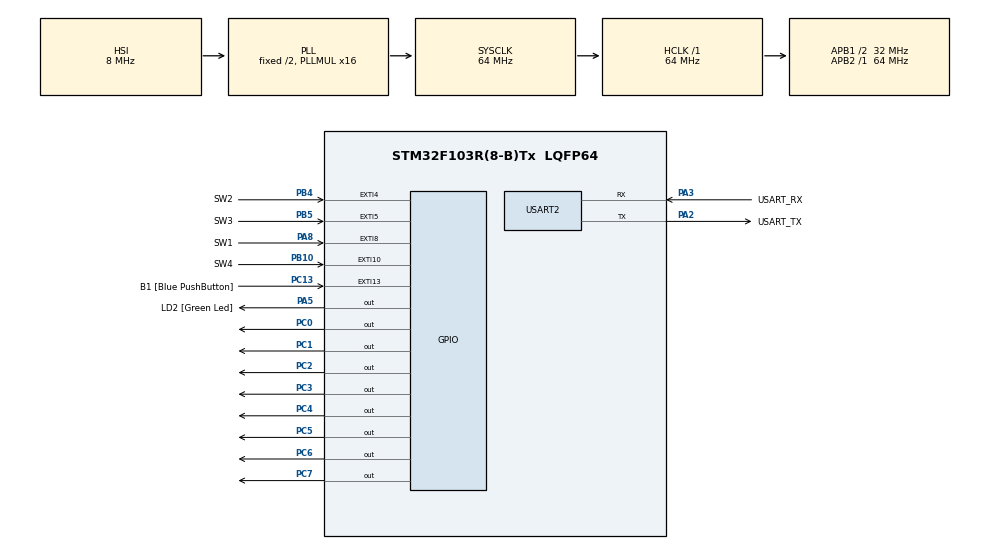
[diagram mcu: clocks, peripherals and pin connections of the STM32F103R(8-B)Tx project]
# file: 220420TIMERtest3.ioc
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Mcu.Family=STM32F1
Mcu.Name=STM32F103R(8-B)Tx
Mcu.Package=LQFP64
NVIC.EXTI15_10_IRQn=true\:0\:0\:false\:false\:true\:true\:true\:true
NVIC.EXTI4_IRQn=true\:0\:0\:false\:false\:true\:true\:true\:true
NVIC.EXTI9_5_IRQn=true\:0\:0\:false\:false\:true\:true\:true\:true
NVIC.PriorityGroup=NVIC_PRIORITYGROUP_4
NVIC.TIM2_IRQn=true\:0\:0\:false\:false\:true\:true\:true\:true
PA13.GPIO_Label=TMS
PA13.Mode=Serial_Wire
PA13.Signal=SYS_JTMS-SWDIO
PA14.GPIO_Label=TCK
PA14.Mode=Serial_Wire
PA14.Signal=SYS_JTCK-SWCLK
PA2.GPIO_Label=USART_TX
PA2.GPIO_Mode=GPIO_MODE_AF_PP
PA2.GPIO_PuPd=GPIO_NOPULL
PA2.GPIO_Speed=GPIO_SPEED_FREQ_LOW
PA2.Mode=Asynchronous
PA2.Signal=USART2_TX
PA3.GPIO_Label=USART_RX
PA3.GPIO_Mode=GPIO_MODE_AF_PP
PA3.GPIO_PuPd=GPIO_NOPULL
PA3.GPIO_Speed=GPIO_SPEED_FREQ_LOW
PA3.Mode=Asynchronous
PA3.Signal=USART2_RX
PA5.GPIO_Label=LD2 [Green Led]
PA5.GPIO_ModeDefaultOutputPP=GPIO_MODE_OUTPUT_PP
PA5.GPIO_PuPd=GPIO_NOPULL
PA5.GPIO_Speed=GPIO_SPEED_FREQ_LOW
PA5.Signal=GPIO_Output
PA8.GPIO_Label=SW1
PA8.GPIO_ModeDefaultEXTI=GPIO_MODE_IT_FALLING
PA8.Signal=GPXTI8
PB10.GPIO_Label=SW4
PB10.GPIO_ModeDefaultEXTI=GPIO_MODE_IT_FALLING
PB10.Signal=GPXTI10
PB3.GPIO_Label=SWO
PB3.Signal=SYS_JTDO-TRACESWO
PB4.GPIO_Label=SW2
PB4.GPIO_ModeDefaultEXTI=GPIO_MODE_IT_FALLING
PB4.Signal=GPXTI4
PB5.GPIO_Label=SW3
PB5.GPIO_ModeDefaultEXTI=GPIO_MODE_IT_FALLING
PB5.Signal=GPXTI5
PC0.Signal=GPIO_Output
PC1.Signal=GPIO_Output
PC13-TAMPER-RTC.GPIO_Label=B1 [Blue PushButton]
PC13-TAMPER-RTC.GPIO_PuPd=GPIO_NOPULL
PC13-TAMPER-RTC.Signal=GPXTI13
PC14-OSC32_IN.Mode=LSE-External-Oscillator
PC14-OSC32_IN.Signal=RCC_OSC32_IN
PC15-OSC32_OUT.Mode=LSE-External-Oscillator
PC15-OSC32_OUT.Signal=RCC_OSC32_OUT
PC2.Signal=GPIO_Output
PC3.Signal=GPIO_Output
PC4.Signal=GPIO_Output
PC5.Signal=GPIO_Output
PC6.Signal=GPIO_Output
PC7.Signal=GPIO_Output
PD0-OSC_IN.Mode=HSE-External-Clock-Source
PD0-OSC_IN.Signal=RCC_OSC_IN
PD1-OSC_OUT.Mode=HSE-External-Clock-Source
PD1-OSC_OUT.Signal=RCC_OSC_OUT
ProjectManager.HeapSize=0x200
ProjectManager.StackSize=0x400
ProjectManager.TargetToolchain=STM32CubeIDE
RCC.AHBFreq_Value=64000000
RCC.APB1CLKDivider=RCC_HCLK_DIV2
RCC.APB1Freq_Value=32000000
RCC.APB1TimFreq_Value=64000000
RCC.APB2Freq_Value=64000000
RCC.APB2TimFreq_Value=64000000
RCC.HCLKFreq_Value=64000000
RCC.PLLMUL=RCC_PLL_MUL16
RCC.RTCClockSelection=RCC_RTCCLKSOURCE_LSE
RCC.SYSCLKFreq_VALUE=64000000
RCC.SYSCLKSource=RCC_SYSCLKSOURCE_PLLCLK
RCC.USBFreq_Value=64000000
TIM2.Channel-Output\ Compare1\ No\ Output=TIM_CHANNEL_1
TIM2.Period=10000-1
TIM2.Prescaler=6400-1
TIM2.Pulse-Output\ Compare1\ No\ Output=1000-1
USART2.VirtualMode=VM_ASYNC
VP_TIM2_VS_ClockSourceINT.Mode=Internal
VP_TIM2_VS_no_output1.Mode=Output Compare1 No Output
board=NUCLEO-F103RB

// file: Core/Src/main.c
/* USER CODE BEGIN Header */
/**
  ******************************************************************************
  * @file           : main.c
  * @brief          : Main program body
  ******************************************************************************
  * @attention
  *
  * Copyright (c) 2022 STMicroelectronics.
  * All rights reserved.
  *
  * This software is licensed under terms that can be found in the LICENSE file
  * in the root directory of this software component.
  * If no LICENSE file comes with this software, it is provided AS-IS.
  *
  ******************************************************************************
  */
/* USER CODE END Header */
#include "main.h"

 TIM_HandleTypeDef htim2;

UART_HandleTypeDef huart2;

/* USER CODE BEGIN PV */
TIM_ClockConfigTypeDef sClockSourceConfig = {0};
TIM_MasterConfigTypeDef sMasterConfig = {0};
TIM_OC_InitTypeDef sConfigOC = {0};
/* USER CODE END PV */

void SystemClock_Config(void);
static void MX_GPIO_Init(void);
static void MX_USART2_UART_Init(void);
static void MX_TIM2_Init(void);

int main(void)
{

  /* MCU Configuration--------------------------------------------------------*/

  /* Reset of all peripherals, Initializes the Flash interface and the Systick. */
  HAL_Init();

  /* Configure the system clock */
  SystemClock_Config();

  /* Initialize all configured peripherals */
  MX_GPIO_Init();
  MX_USART2_UART_Init();
  MX_TIM2_Init();
  /* USER CODE BEGIN 2 */
  if(HAL_TIM_Base_Start_IT(&htim2) != HAL_OK){
	  Error_Handler();
  }

  if(HAL_TIM_OC_Start_IT(&htim2, TIM_CHANNEL_1) != HAL_OK){
	  Error_Handler();
  }
  /* USER CODE END 2 */

  /* Infinite loop */
  while (1)
  {

  }
}

void SystemClock_Config(void)
{
  RCC_OscInitTypeDef RCC_OscInitStruct = {0};
  RCC_ClkInitTypeDef RCC_ClkInitStruct = {0};

  /** Initializes the RCC Oscillators according to the specified parameters
  * in the RCC_OscInitTypeDef structure.
  */
  RCC_OscInitStruct.OscillatorType = RCC_OSCILLATORTYPE_HSI;
  RCC_OscInitStruct.HSIState = RCC_HSI_ON;
  RCC_OscInitStruct.HSICalibrationValue = RCC_HSICALIBRATION_DEFAULT;
  RCC_OscInitStruct.PLL.PLLState = RCC_PLL_ON;
  RCC_OscInitStruct.PLL.PLLSource = RCC_PLLSOURCE_HSI_DIV2;
  RCC_OscInitStruct.PLL.PLLMUL = RCC_PLL_MUL16;
  if (HAL_RCC_OscConfig(&RCC_OscInitStruct) != HAL_OK)
  {
    Error_Handler();
  }

  /** Initializes the CPU, AHB and APB buses clocks
  */
  RCC_ClkInitStruct.ClockType = RCC_CLOCKTYPE_HCLK|RCC_CLOCKTYPE_SYSCLK
                              |RCC_CLOCKTYPE_PCLK1|RCC_CLOCKTYPE_PCLK2;
  RCC_ClkInitStruct.SYSCLKSource = RCC_SYSCLKSOURCE_PLLCLK;
  RCC_ClkInitStruct.AHBCLKDivider = RCC_SYSCLK_DIV1;
  RCC_ClkInitStruct.APB1CLKDivider = RCC_HCLK_DIV2;
  RCC_ClkInitStruct.APB2CLKDivider = RCC_HCLK_DIV1;

  if (HAL_RCC_ClockConfig(&RCC_ClkInitStruct, FLASH_LATENCY_2) != HAL_OK)
  {
    Error_Handler();
  }
}

static void MX_TIM2_Init(void)
{

  htim2.Instance = TIM2;
  htim2.Init.Prescaler = 6400-1;
  htim2.Init.CounterMode = TIM_COUNTERMODE_UP;
  htim2.Init.Period = 10000-1;
  htim2.Init.ClockDivision = TIM_CLOCKDIVISION_DIV1;
  htim2.Init.AutoReloadPreload = TIM_AUTORELOAD_PRELOAD_DISABLE;
  if (HAL_TIM_Base_Init(&htim2) != HAL_OK)
  {
    Error_Handler();
  }
  sClockSourceConfig.ClockSource = TIM_CLOCKSOURCE_INTERNAL;
  if (HAL_TIM_ConfigClockSource(&htim2, &sClockSourceConfig) != HAL_OK)
  {
    Error_Handler();
  }
  if (HAL_TIM_OC_Init(&htim2) != HAL_OK)
  {
    Error_Handler();
  }
  sMasterConfig.MasterOutputTrigger = TIM_TRGO_RESET;
  sMasterConfig.MasterSlaveMode = TIM_MASTERSLAVEMODE_DISABLE;
  if (HAL_TIMEx_MasterConfigSynchronization(&htim2, &sMasterConfig) != HAL_OK)
  {
    Error_Handler();
  }
  sConfigOC.OCMode = TIM_OCMODE_TIMING;
  sConfigOC.Pulse = 1000-1;
  sConfigOC.OCPolarity = TIM_OCPOLARITY_HIGH;
  sConfigOC.OCFastMode = TIM_OCFAST_DISABLE;
  if (HAL_TIM_OC_ConfigChannel(&htim2, &sConfigOC, TIM_CHANNEL_1) != HAL_OK)
  {
    Error_Handler();
  }

}

static void MX_USART2_UART_Init(void)
{

  huart2.Instance = USART2;
  huart2.Init.BaudRate = 115200;
  huart2.Init.WordLength = UART_WORDLENGTH_8B;
  huart2.Init.StopBits = UART_STOPBITS_1;
  huart2.Init.Parity = UART_PARITY_NONE;
  huart2.Init.Mode = UART_MODE_TX_RX;
  huart2.Init.HwFlowCtl = UART_HWCONTROL_NONE;
  huart2.Init.OverSampling = UART_OVERSAMPLING_16;
  if (HAL_UART_Init(&huart2) != HAL_OK)
  {
    Error_Handler();
  }

}

static void MX_GPIO_Init(void)
{
  GPIO_InitTypeDef GPIO_InitStruct = {0};

  /* GPIO Ports Clock Enable */
  __HAL_RCC_GPIOC_CLK_ENABLE();
  __HAL_RCC_GPIOD_CLK_ENABLE();
  __HAL_RCC_GPIOA_CLK_ENABLE();
  __HAL_RCC_GPIOB_CLK_ENABLE();

  /*Configure GPIO pin Output Level */
  HAL_GPIO_WritePin(GPIOC, GPIO_PIN_0|GPIO_PIN_1|GPIO_PIN_2|GPIO_PIN_3
                          |GPIO_PIN_4|GPIO_PIN_5|GPIO_PIN_6|GPIO_PIN_7, GPIO_PIN_RESET);

  /*Configure GPIO pin Output Level */
  HAL_GPIO_WritePin(LD2_GPIO_Port, LD2_Pin, GPIO_PIN_RESET);

  /*Configure GPIO pin : B1_Pin */
  GPIO_InitStruct.Pin = B1_Pin;
  GPIO_InitStruct.Mode = GPIO_MODE_IT_RISING;
  GPIO_InitStruct.Pull = GPIO_NOPULL;
  HAL_GPIO_Init(B1_GPIO_Port, &GPIO_InitStruct);

  /*Configure GPIO pins : PC0 PC1 PC2 PC3
                           PC4 PC5 PC6 PC7 */
  GPIO_InitStruct.Pin = GPIO_PIN_0|GPIO_PIN_1|GPIO_PIN_2|GPIO_PIN_3
                          |GPIO_PIN_4|GPIO_PIN_5|GPIO_PIN_6|GPIO_PIN_7;
  GPIO_InitStruct.Mode = GPIO_MODE_OUTPUT_PP;
  GPIO_InitStruct.Pull = GPIO_NOPULL;
  GPIO_InitStruct.Speed = GPIO_SPEED_FREQ_LOW;
  HAL_GPIO_Init(GPIOC, &GPIO_InitStruct);

  /*Configure GPIO pin : LD2_Pin */
  GPIO_InitStruct.Pin = LD2_Pin;
  GPIO_InitStruct.Mode = GPIO_MODE_OUTPUT_PP;
  GPIO_InitStruct.Pull = GPIO_NOPULL;
  GPIO_InitStruct.Speed = GPIO_SPEED_FREQ_LOW;
  HAL_GPIO_Init(LD2_GPIO_Port, &GPIO_InitStruct);

  /*Configure GPIO pins : SW4_Pin SW2_Pin SW3_Pin */
  GPIO_InitStruct.Pin = SW4_Pin|SW2_Pin|SW3_Pin;
  GPIO_InitStruct.Mode = GPIO_MODE_IT_FALLING;
  GPIO_InitStruct.Pull = GPIO_NOPULL;
  HAL_GPIO_Init(GPIOB, &GPIO_InitStruct);

  /*Configure GPIO pin : SW1_Pin */
  GPIO_InitStruct.Pin = SW1_Pin;
  GPIO_InitStruct.Mode = GPIO_MODE_IT_FALLING;
  GPIO_InitStruct.Pull = GPIO_NOPULL;
  HAL_GPIO_Init(SW1_GPIO_Port, &GPIO_InitStruct);

  /* EXTI interrupt init*/
  HAL_NVIC_SetPriority(EXTI4_IRQn, 0, 0);
  HAL_NVIC_EnableIRQ(EXTI4_IRQn);

  HAL_NVIC_SetPriority(EXTI9_5_IRQn, 0, 0);
  HAL_NVIC_EnableIRQ(EXTI9_5_IRQn);

  HAL_NVIC_SetPriority(EXTI15_10_IRQn, 0, 0);
  HAL_NVIC_EnableIRQ(EXTI15_10_IRQn);

}

/* USER CODE BEGIN 4 */
	void HAL_TIM_PeriodElapsedCallback(TIM_HandleTypeDef *htim)
	{
		HAL_GPIO_WritePin(GPIOC, GPIO_PIN_All, GPIO_PIN_SET);
	}

	void HAL_TIM_OC_DelayElapsedCallback(TIM_HandleTypeDef *htim)
	{
		HAL_GPIO_WritePin(GPIOC, GPIO_PIN_All, GPIO_PIN_RESET);
	}

	void HAL_GPIO_EXTI_Callback(uint16_t GPIO_PIN)
	{
		if(GPIO_PIN == SW1_Pin)
		{
			sConfigOC.Pulse = 1000-1;
			HAL_TIM_OC_ConfigChannel(&htim2, &sConfigOC, TIM_CHANNEL_1);
		}

		if(GPIO_PIN == SW2_Pin)
		{
			sConfigOC.Pulse = 3000-1;
			HAL_TIM_OC_ConfigChannel(&htim2, &sConfigOC, TIM_CHANNEL_1);
		}

		if(GPIO_PIN == SW3_Pin)
		{
			sConfigOC.Pulse = 5000-1;
			HAL_TIM_OC_ConfigChannel(&htim2, &sConfigOC, TIM_CHANNEL_1);
		}

		if(GPIO_PIN == SW4_Pin)
		{
			sConfigOC.Pulse = 8000-1;
			HAL_TIM_OC_ConfigChannel(&htim2, &sConfigOC, TIM_CHANNEL_1);
		}
	}
/* USER CODE END 4 */

void Error_Handler(void)
{
  __disable_irq();
  while (1)
  {
  }
}
